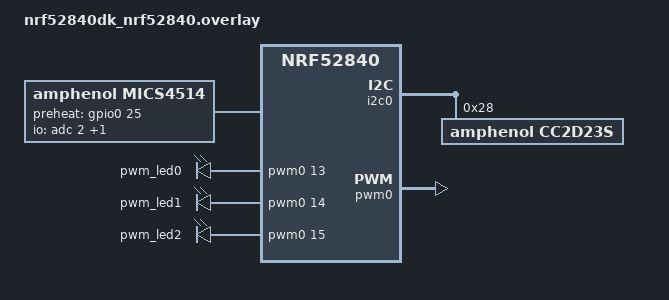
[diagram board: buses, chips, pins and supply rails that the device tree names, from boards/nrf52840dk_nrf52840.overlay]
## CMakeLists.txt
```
#-------------------------------------------------------------------------------
# Pyrrha application firmware
#
# Copyright (c) 2021 LION
# SPDX-License-Identifier: Apache-2.0

cmake_minimum_required(VERSION 3.20.0)
find_package(Zephyr REQUIRED HINTS $ENV{ZEPHYR_BASE})

project(app LANGUAGES C VERSION 0.2.1)

configure_file(app_version.h.in ${CMAKE_BINARY_DIR}/app/include/app_version.h)
target_include_directories(app PRIVATE ${CMAKE_BINARY_DIR}/app/include src)

set(PYRRHA_SOURCES
    src/main.c
    src/collector.c
    src/encoder.c
    src/gas.c
    src/rht.c
    src/messenger.c
    src/bluetooth.c
    src/storage.c
    src/timestamp.c
    src/alerts.c
)
target_include_directories(app PRIVATE include src)
target_sources(app PRIVATE ${PYRRHA_SOURCES})
```

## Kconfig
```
# Copyright (c) 2021 LION
# SPDX-License-Identifier: Apache-2.0
#
# This file is the application Kconfig entry point.

menu "Zephyr"
source "Kconfig.zephyr"
endmenu

module = PYRRHA
module-str = pyrrha_bluetooth
source "subsys/logging/Kconfig.template.log_config"

module = PYRRHA_BLUETOOTH
module-str = pyrrha_bluetooth
source "subsys/logging/Kconfig.template.log_config"

module = PYRRHA_MESSENGER
module-str = pyrrha_messenger
source "subsys/logging/Kconfig.template.log_config"

module = PYRRHA_COLLECTOR
module-str = pyrrha_collector
source "subsys/logging/Kconfig.template.log_config"

module = PYRRHA_STORAGE
module-str = pyrrha_storage
source "subsys/logging/Kconfig.template.log_config"

module = PYRRHA_ENCODER
module-str = pyrrha_encoder
source "subsys/logging/Kconfig.template.log_config"

menu "pyrrha threads"
menu "stacks"
config PYRRHA_COLLECTION_STACKSIZE
	int "Size of the stack allowed for the collection process"
	range 512 8192
	default 2048
	help
	  This value controls the size of the stack (in bytes)
	  allowed for the collection process
config PYRRHA_MESSAGING_STACKSIZE
	int "Size of the stack allowed for the messaging process"
	range 512 8192
	default 4096
	help
	  This value controls the size of the stack (in bytes)
	  allowed for the messaging process
endmenu

menu "priorities"
config PYRRHA_COLLECTION_PRIORITY
	int "Priority for the collection process"
	range 0 7
	default 7
config PYRRHA_MESSAGING_PRIORITY
	int "Priority for the messaging process"
	range 0 7
	default 7
endmenu
endmenu

menu "storage"
config PYRRHA_FCB_NUM_AREAS
	int "Number of flash areas used by the settings subsystem"
	default 16
	help
	  Number of areas to allocate in the FCB. A smaller number is
	  used if the flash hardware cannot support this value.

config PYRRHA_FCB_MAGIC
	hex "FCB magic for the settings subsystem"
	default 0xf14ef14e
	help
	  Magic 32-bit word for to identify valid settings area
endmenu

config PYRRHA_SAMPLE_PERIOD
    int "Period (in seconds) of sensor data collection"
    range 1 300
    default 10

config PYRRHA_COLLECTION_START_DELAY
    int "Delay (in milliseconds) before starting the collection process"
    range 0 100000
    default 0

config PYRRHA_MESSAGE_BUFF_SIZE
	int "Size of the buffer used to hold an encoded message (in bytes)"
	range 192 1024
	default 512

config PYRRHA_MESSAGE_QUEUE_SIZE
	int "Number of messages allowed in the message queue before it is full"
	range 2 64
	default 5

config PYRRHA_MESSAGE_QUEUE_ALIGNMENT
	int 
	range 2 32
	default 4
```

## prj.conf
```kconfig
# Copyright (c) 2021 LION
# SPDX-License-Identifier: Apache-2.0
#
# This file contains selected Kconfig options for the application.

CONFIG_GPIO=y
CONFIG_JSON_LIBRARY=y
CONFIG_FLASH=y
CONFIG_FLASH_MAP=y
CONFIG_FCB=y

# Bluetooth

CONFIG_BT=y
CONFIG_BT_DEVICE_NAME="Pyrrha"
CONFIG_BT_DEBUG_LOG=y
CONFIG_BT_SMP=y
CONFIG_BT_PERIPHERAL=y
CONFIG_BT_DEVICE_APPEARANCE=962
CONFIG_BT_SETTINGS=y
CONFIG_FLASH_MAP=y
CONFIG_NVS=y
CONFIG_SETTINGS=y
CONFIG_SYSTEM_WORKQUEUE_STACK_SIZE=4096
CONFIG_BT=y
CONFIG_BT_SMP_SC_PAIR_ONLY=y
CONFIG_BT_SMP_APP_PAIRING_ACCEPT=y
CONFIG_BT_GATT_CLIENT=y

# Increase BT MTU and RX buffers, and bluetooth rx stack size
# to support larger messages
CONFIG_BT_L2CAP_TX_MTU=498
CONFIG_BT_BUF_ACL_TX_SIZE=251
CONFIG_BT_BUF_ACL_RX_SIZE=502
CONFIG_BT_RX_STACK_SIZE=4096
```

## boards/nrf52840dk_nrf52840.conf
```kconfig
# Copyright (c) 2021 LION
# SPDX-License-Identifier: Apache-2.0

CONFIG_SENSOR=y
CONFIG_CC2D23S=y
CONFIG_I2C=y

CONFIG_ADC=y
CONFIG_MICS4514=y
CONFIG_NEWLIB_LIBC=y

CONFIG_NORDIC_QSPI_NOR=y
CONFIG_NORDIC_QSPI_NOR_FLASH_LAYOUT_PAGE_SIZE=4096
CONFIG_PYRRHA_FCB_NUM_AREAS=255
```

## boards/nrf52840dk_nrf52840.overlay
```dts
/*
 * Copyright 2021 LION
 *
 * SPDX-License-Identifier: Apache-2.0
 */

&mx25r64 {
	partitions {
		compatible = "fixed-partitions";
		#address-cells = <1>;
		#size-cells = <1>;

		record_partition: partition@0 {
			label = "records";
			reg = <0x0 0xff000>;
		};
	};
};

&i2c0 {
	rht_sensor: cc2d23s@28 {
		compatible = "amphenol,cc2d23s";
		reg = <0x28>;
		label = "CC2D23S";
	};
};

&pwm0 {
	status = "okay";
	ch0-pin = <13>;
	ch0-inverted;
	ch1-pin = <14>;
	ch1-inverted;
	ch2-pin = <15>;
	ch2-inverted;
};

/ {
	gas_sensor: mics4514 {
		label = "MICS4514";
		compatible = "amphenol,mics4514";
		io-channels = <&adc 2>, <&adc 1>;
		io-channel-names = "RED", "OX";
		preheat-gpios = <&gpio0 25 GPIO_ACTIVE_HIGH>;
		rload-red-ohms = <47000>;
		rload-ox-ohms = <22000>;
	};
	pwmleds {
		compatible = "pwm-leds";
		pwm_led0: pwm_led_0 {
			pwms = <&pwm0 13>;
		};
		pwm_led1: pwm_led_1 {
			pwms = <&pwm0 14>;
		};
		pwm_led2: pwm_led_2 {
			pwms = <&pwm0 15>;
		};
	};
	aliases {
		red-pwm-led = &pwm_led0;
		green-pwm-led = &pwm_led1;
		blue-pwm-led = &pwm_led2;
	};
};
```

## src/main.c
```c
/*
 * Copyright (c) 2021 LION
 * SPDX-License-Identifier: Apache-2.0
 */

#include <zephyr.h>
#include "app_version.h"

#include <logging/log.h>
#include <drivers/gpio.h>
#include <drivers/sensor.h>
#include <drivers/sensor/mics4514.h>

LOG_MODULE_REGISTER(main, CONFIG_PYRRHA_LOG_LEVEL);

void main(void)
{
	printk("Starting Pyrrha firmware version %s\n", APP_VERSION_STR);
}
```

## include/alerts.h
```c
/**
 * @file alerts.h
 * @author Brian Bradley (brian.bradley.p@gmail.com)
 * @date 2022-01-26
 * 
 * @copyright Copyright (C) 2022 LION
 * 
 * SPDX-License-Identifier: Apache-2.0
 * 
 */


#ifndef __PYRRHA_BLUETOOTH_H
#define __PYRRHA_BLUETOOTH_H

#include <collector.h>

/**
 * @brief Check for and generate any alerts necessary based on
 * sensor data
 * 
 * @param data : sensor data used to match alert conditions
 * @retval 0 on success
 * @retval -ENOLCK if alert mutex could not be locked within 250ms
 * @retval -errno otherwise
 */
int generate_alerts(struct pyrrha_data * data);

/**
 * @brief Override the current alert condition.
 * This will block local alert generation until a release is issued.
 * 
 * @param color : hex representation of led color used in alarm
 * @retval 0 on success
 * @retval -ENOLCK if alert mutex could not be locked within 250ms
 */
int override_alert(uint32_t color);

/**
 * @brief Release the current override for the LED. For instance, 
 * if the host device disconnects and can no longer control the alarm
 * 
 * @retval 0 on success
 * @retval -ENOLCK if alert mutex could not be locked within 250ms
 */
int release_alert_override();

#endif
```

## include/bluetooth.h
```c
/**
 * @file bluetooth.h
 * @author Brian Bradley (brian.bradley.p@gmail.com)
 * @date 2021-11-05
 * 
 * @copyright Copyright (C) 2021 LION
 * 
 * SPDX-License-Identifier: Apache-2.0
 * 
 */

#ifndef __PYRRHA_BLUETOOTH_H
#define __PYRRHA_BLUETOOTH_H

#include <zephyr.h>
/**
 * @brief Unimplemented
 * 
 * @param buffer : data to be sent to client
 * @param len : length of data sent to client
 * @retval -ENOTSUP 
 */
int notify_client(char * buffer, size_t len);

#endif
```

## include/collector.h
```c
/**
 * @file collector.h
 * @author Brian Bradley (brian.bradley.p@gmail.com)
 * @date 2021-11-03
 * 
 * @copyright Copyright (C) 2021 LION
 * 
 * SPDX-License-Identifier: Apache-2.0
 * 
 */

#ifndef __PYRRHA_COLLECTOR_H
#define __PYRRHA_COLLECTOR_H

#include <gas.h>
#include <rht.h>

#define ERR_GAS_SENSOR  BIT(0)
#define ERR_RHT_SENSOR  BIT(1)

struct pyrrha_data{
    uint32_t timestamp;
    struct gas_sensor_data gas;
    struct rht_data rht;
    uint8_t err;
};

/**
 * @brief This thread will aggregate all sensor data and prepare it
 * for encoding/saving/messaging
 * 
 */
void data_collection_process(void);

#endif
```

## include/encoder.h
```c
/**
 * @file encoder.h
 * @author Brian Bradley (brian.bradley.p@gmail.com)
 * @date 2021-11-03
 * 
 * @copyright Copyright (C) 2021 LION
 * 
 * SPDX-License-Identifier: Apache-2.0
 * 
 */

#ifndef __PYRRHA_ENCODER_H
#define __PYRRHA_ENCODER_H

#include <zephyr.h>
#include <collector.h>
/**
 * @brief encode sensor data into a serialized format for sending / recording
 * 
 * @param data : sensor data to encode
 * @param buffer : string buffer to hold the serialized data after encoding
 * @param buffer_len : maximum length of the encoded data (size of string buffer)
 * @retval 0 on success
 * @retval -ENOMEM on `buffer_len` less than space needed for encoding
 * @retval -errno otherwise
 */
int sensor_data_encode(struct pyrrha_data * data, char * buffer, size_t buffer_len);

#endif
```

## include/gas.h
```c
/**
 * @file gas.h
 * @author Brian Bradley (brian.bradley.p@gmail.com)
 * @brief Headers for gas sensor integration
 * @date 2021-11-03
 * 
 * @copyright Copyright (C) 2021 LION
 * 
 * SPDX-License-Identifier: Apache-2.0
 * 
 */

#ifndef __PYRRAH_GAS_SENSOR_H
#define __PYRRAH_GAS_SENSOR_H

#include <zephyr.h>
#include <drivers/sensor.h>

struct gas_sensor_data{
    struct sensor_value co;
    struct sensor_value no2;
};

/**
 * @brief Capture the latest gas sensor data is possible
 * 
 * @param data : Pointer to where gas sensor data should be stored on successful acquisition
 * @retval 0 on success
 * @retval -errno otherwise 
 */
int capture_gas_sensor_data(struct gas_sensor_data * data);

#endif
```

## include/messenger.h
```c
/**
 * @file messenger.h
 * @author Brian Bradley (brian.bradley.p@gmail.com)
 * @date 2021-11-05
 * 
 * @copyright Copyright (C) 2021 LION
 * 
 * SPDX-License-Identifier: Apache-2.0
 * 
 */
#ifndef __PYRRHA_MESSENGER_H
#define __PYRRHA_MESSENGER_H

#include <collector.h>
/**
 * @brief Add a new message to the queue
 * for sending / recording
 * 
 * @param data : sensor data to be sent
 * @retval 0 on success
 * @retval -errno otherwise
 */
int queue_sensor_data(struct pyrrha_data * data);

/**
 * @brief This thread will wait for new messages
 * and attempt to send them, or queue them to be sent
 * 
 */
void data_messaging_process(void);

#endif
```

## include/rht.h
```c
/**
 * @file gas.h
 * @author Brian Bradley (brian.bradley.p@gmail.com)
 * @brief Headers for rht sensor integration
 * @date 2021-11-03
 * 
 * @copyright Copyright (C) 2021 LION
 * 
 * SPDX-License-Identifier: Apache-2.0
 * 
 */

#ifndef __PYRRAH_RHT_SENSOR_H
#define __PYRRAH_RHT_SENSOR_H

#include <drivers/sensor.h>

struct rht_data{
    struct sensor_value temperature;
    struct sensor_value humidity;
};

/**
 * @brief Capture the latest rht sensor data is possible
 * 
 * @param data : Pointer to where rht data should be stored on successful acquisition
 * @retval 0 on success
 * @retval -errno otherwise 
 */
int capture_rht_data(struct rht_data * data);

#endif
```

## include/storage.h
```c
/**
 * @file storage.h
 * @author Brian Bradley (brian.bradley.p@gmail.com)
 * @date 2021-11-05
 * 
 * @copyright Copyright (C) 2021 LION
 * 
 * SPDX-License-Identifier: Apache-2.0
 * 
 */
#ifndef __PYRRHA_STORAGE_H
#define __PYRRHA_STORAGE_H
#include <zephyr.h>
#include <collector.h>

/**
 * Callback function for handling records found while 
 * walking through flash circular buffer
 *
 * Type of function which is expected to be called after
 * walking through each record
 *
 * If cb wants to stop the walk, it should return non-zero value.
 * 
 * @param record Pointer to record which must be handled
 * @return 0 continue walking, non-zero stop walking.
 */
typedef int (*record_handler_cb)(struct pyrrha_data *record);

/**
 * @brief Walk through all available stored records, and
 * handle them with a record handler `cb`
 * 
 * @param cb : Record handler, each stored record will have
 * this function applied to it
 * @retval positive number of records succesfully handled
 * @retval -errno on failure. This can come from the storage backend,
 * or from `cb`
 */
int record_walk(record_handler_cb cb);

/**
 * @brief Checks to see if there are any stored, unsent records
 * 
 * @retval true : records available
 * @retval false : no records available
 */
bool stored_record_is_available();

/**
 * @brief Get the next (oldest available) record, if there is one
 * 
 * @param record : structure to store record, if one is found
 * @retval 0 : successfully got a record
 * @retval -ENODATA : no records available
 * @retval -errno otherwise 
 * 
 * @note It is important to rotate the data with `rotate_record_buffer`
 * once the data is no longer needed (e.g. it was successfully sent)
 */
int get_next_record(struct pyrrha_data * record);

/**
 * @brief Store a new record for later retrieval
 * 
 * @param record : record to store
 * @retval 0 on success
 * @retval -errno otherwise
 */
int store_new_record(struct pyrrha_data * record);

/**
 * @brief Deletes the oldest record from the circular buffer
 * 
 * @retval 0 on success
 * @retval -errno otherwise
 */
int rotate_record_buffer();

#endif
```

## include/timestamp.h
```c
/**
 * @file timestamp.h
 * @author Brian Bradley (brian.bradley.p@gmail.com)
 * @date 2021-11-08
 * 
 * @copyright Copyright (C) 2021 LION
 * 
 * SPDX-License-Identifier: Apache-2.0
 * 
 */
#ifndef __PYRRHA_TIMESTAMP_H
#define __PYRRHA_TIMESTAMP_H

#include <zephyr.h>

/**
 * @brief Get current time
 * 
 * @retval : timestamp represented in seconds since epoch (unix time)
 * @retval -errno on error
 */

int get_timestamp(void);

/**
 * @brief Set the current time
 * 
 * @param time : timestamp represented in seconds since epoch (unix time)
 * @retval 0 on success
 * @retval -errno otherwise
 */
int set_timestamp(uint32_t time);

#endif
```

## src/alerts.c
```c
/**
 * @file alerts.c
 * @author Brian Bradley (brian.bradley.p@gmail.com)
 * @brief 
 * @date 2022-01-26
 * 
 * @copyright Copyright (C) 2022 LION
 * 
 * SPDX-License-Identifier: Apache-2.0
 * 
 */

#include <alerts.h>
#include <logging/log.h>
#include <zephyr.h>
#include <device.h>
#include <drivers/pwm.h>

LOG_MODULE_REGISTER(alerts, CONFIG_PYRRHA_LOG_LEVEL);

#define OVER_TEMPERATURE(temp) (temp > CONFIG_TEMPERATURE_ALERT_THRESHOLD_CELCIUS)
#define OVER_CO(co) (co > CONFIG_CO_ALERT_THRESHOLD_PPM)
#define OVER_NO2(no2) (no2 > CONFIG_NO2_ALERT_THRESHOLD_PPM)

/*
 * 50hz is flicker fusion threshold. Modulated light will be perceived
 * as steady by our eyes when blinking rate is at least 50.
 */
#define PERIOD_USEC	(USEC_PER_SEC / 50U)

#define RED_LED_NODE DT_ALIAS(red_pwm_led)
#define GREEN_LED_NODE DT_ALIAS(green_pwm_led)
#define BLUE_LED_NODE DT_ALIAS(blue_pwm_led)

#define COLOR_TO_PULSE(color, period)         (color == UINT8_MAX ? (period) : (color * (period) >> 8))

/**
 * @brief union which allows easy set/conversion to hex or rgb directly
 * 
 */
typedef union Color{
    uint32_t hex;
    struct{
        uint8_t red;
        uint8_t green;
        uint8_t blue;
    };
}color_t;

/**
 * @brief Configuration table for pwm led
 * 
 */
struct pwm_cfg{
    const struct device * pwm;
    const uint8_t pin;
    const uint8_t flags;
    const uint32_t period;
};

/**
 * @brief Container for all pwm leds associated with the rgb led
 * 
 */
struct rgb_led_device{
    const struct pwm_cfg red;
    const struct pwm_cfg green;
    const struct pwm_cfg blue;
};

K_MUTEX_DEFINE(mtx_alert);
static color_t g_alert_override = {0};

const struct rgb_led_device g_led = {
    .red = {
        .pwm = DEVICE_DT_GET(DT_PWMS_CTLR(RED_LED_NODE)),
        .pin = DT_PWMS_CHANNEL(RED_LED_NODE),
        .flags = DT_PWMS_FLAGS(RED_LED_NODE), 
        .period = PERIOD_USEC
    },
    .green = {
        .pwm = DEVICE_DT_GET(DT_PWMS_CTLR(GREEN_LED_NODE)),
        .pin = DT_PWMS_CHANNEL(GREEN_LED_NODE),
        .flags = DT_PWMS_FLAGS(GREEN_LED_NODE), 
        .period = PERIOD_USEC
    },
    .blue = {
        .pwm = DEVICE_DT_GET(DT_PWMS_CTLR(BLUE_LED_NODE)),
        .pin = DT_PWMS_CHANNEL(BLUE_LED_NODE),
        .flags = DT_PWMS_FLAGS(BLUE_LED_NODE), 
        .period = PERIOD_USEC
    },
};

/**
 * @brief Set pwm output directly to the coresponding 8-bit color value
 * 
 * @param cfg : configuration table for pwm device
 * @param color : 8-bit color value for the specified pwm
 * @retval 0 on success
 * @retval -ENODEV if no configuration table
 * @retval -EFAULT if pwm set error
 */
static int set_pwm(const struct pwm_cfg * cfg, uint8_t color)
{
    if (cfg == NULL){
        return -ENODEV;
    }
	const struct device *dev = cfg->pwm;
    uint32_t pulse = COLOR_TO_PULSE(color, cfg->period);
	/* Verify pwm_pin_set_usec() */
	if (pwm_pin_set_usec(dev, cfg->pin, cfg->period, pulse, cfg->flags)) {
		LOG_ERR("Fail to set the period and pulse width");
		return -EFAULT;
	}
	return 0;
}

/**
 * @brief Set the alert led to a specific color
 * 
 * @param color : rgb representation of desired color 
 * @retval 0 on success
 * @retval -errno otherwise
 */
static int set_alert_led(color_t color){
    set_pwm(&g_led.red, color.red);
    set_pwm(&g_led.green, color.green);
    set_pwm(&g_led.blue, color.blue);
    return 0;
}

/**
 * @brief generate an alert from sensor data exceeding set thresholds
 */
static void threshold_alert(void){
    const color_t alert_color = {
        .red = 0xff
    };
    set_alert_led(alert_color);
}

int override_alert(uint32_t color){
    if (k_mutex_lock(&mtx_alert, K_MSEC(250)) != 0){
        return -ENOLCK;
    }
    g_alert_override.hex = color;
    set_alert_led(g_alert_override);
    k_mutex_unlock(&mtx_alert);
    return 0;
}

int release_alert_override(){
    return override_alert(0);
}

int generate_alerts(struct pyrrha_data * data){
    if (k_mutex_lock(&mtx_alert, K_MSEC(250)) != 0){
        return -ENOLCK;
    }
    /* Only generate an alert when there is no override condition */
    if (g_alert_override.hex == 0){
        if (OVER_TEMPERATURE(data->rht.temperature.val1) ||
            OVER_CO(data->gas.co.val1) ||
            OVER_NO2(data->gas.no2.val1))
        {
            threshold_alert();
        }
    }
    k_mutex_unlock(&mtx_alert);
    return 0;
}
```

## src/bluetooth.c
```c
/**
 * @file bluetooth.c
 * @author Brian Bradley (brian.bradley.p@gmail.com)
 * @date 2021-11-05
 * 
 * @copyright Copyright (C) 2021 LION
 * 
 * SPDX-License-Identifier: Apache-2.0
 * 
 */

#include <zephyr.h>
#include <init.h>
#include <zephyr/types.h>
#include <stddef.h>
#include <string.h>
#include <errno.h>
#include <sys/printk.h>
#include <sys/byteorder.h>
#include <bluetooth.h>
#include <settings/settings.h>
#include <bluetooth/bluetooth.h>
#include <bluetooth/hci.h>
#include <bluetooth/conn.h>
#include <bluetooth/uuid.h>
#include <bluetooth/gatt.h>
#include <logging/log.h>

LOG_MODULE_REGISTER(pyrrha_bluetooth, CONFIG_PYRRHA_BLUETOOTH_LOG_LEVEL);

/* Custom Service Variables */
#define BT_UUID_CUSTOM_SERVICE_VAL \
	BT_UUID_128_ENCODE(0x2c32fd5f, 0x5082, 0x437e, 0x8501, 0x959d23d3d2fb)

static struct bt_uuid_128 pyrrha_svc_uuid = BT_UUID_INIT_128(
	BT_UUID_CUSTOM_SERVICE_VAL);

static struct bt_uuid_128 sensors_chrc_uuid = BT_UUID_INIT_128(
	BT_UUID_128_ENCODE(0xdcaaccb4, 0xc1d1, 0x4bc4, 0xb406, 0x8f6f45df0208));


static bool host_connected = false;

static void pyrrha_conn_ready(void){
	host_connected = true;
}

static void pyrrha_ccc_cfg_changed(const struct bt_gatt_attr *attr, uint16_t val)
{
	host_connected = (val == BT_GATT_CCC_NOTIFY);

	if (host_connected) {
		pyrrha_conn_ready();
	}
	LOG_DBG("val %u %d", val, host_connected);
}

BT_GATT_SERVICE_DEFINE(pyrrha_svc,
	/* Vendor Primary Service Declaration */
	BT_GATT_PRIMARY_SERVICE(&pyrrha_svc_uuid.uuid),
	BT_GATT_CHARACTERISTIC(&sensors_chrc_uuid.uuid, BT_GATT_CHRC_NOTIFY,
			       BT_GATT_PERM_NONE, NULL, NULL, NULL),
	BT_GATT_CCC(pyrrha_ccc_cfg_changed,
		    BT_GATT_PERM_READ | BT_GATT_PERM_WRITE),
);

static const struct bt_data ad[] = {
	BT_DATA_BYTES(BT_DATA_FLAGS, (BT_LE_AD_GENERAL | BT_LE_AD_NO_BREDR)),
	BT_DATA_BYTES(BT_DATA_UUID128_ALL, BT_UUID_CUSTOM_SERVICE_VAL),
};

static void exchange_func(struct bt_conn *conn, uint8_t err, struct bt_gatt_exchange_params *params)
{
	if (!err) {
		LOG_DBG("MTU exchange done");
	} else {
		LOG_ERR("MTU exchange failed (err %" PRIu8 ")", err);
	}
}

int notify_client(char * buffer, size_t len){
	
	if (host_connected){
		LOG_HEXDUMP_DBG(buffer, len, "notification data");
    	return bt_gatt_notify(NULL, &pyrrha_svc.attrs[1], buffer, len);
	}
	return -ENODEV;
}

static void connected(struct bt_conn *conn, uint8_t err)
{
	char addr[BT_ADDR_LE_STR_LEN];

	bt_addr_le_to_str(bt_conn_get_dst(conn), addr, sizeof(addr));

	if (err) {
		LOG_ERR("Failed to connect to %s (%u)", log_strdup(addr), err);
		return;
	}

	LOG_DBG("Connected %s", log_strdup(addr));

	static struct bt_gatt_exchange_params exchange_params;

	exchange_params.func = exchange_func;
	bt_gatt_exchange_mtu(conn, &exchange_params);

	if (bt_conn_set_security(conn, BT_SECURITY_L2)) {
		LOG_ERR("Failed to set security");
	}
}

static void disconnected(struct bt_conn *conn, uint8_t reason)
{
	char addr[BT_ADDR_LE_STR_LEN];
	host_connected = false;
	bt_addr_le_to_str(bt_conn_get_dst(conn), addr, sizeof(addr));

	LOG_DBG("Disconnected from %s (reason 0x%02x)", log_strdup(addr), reason);
}

static void security_changed(struct bt_conn *conn, bt_security_t level,
			     enum bt_security_err err)
{
	char addr[BT_ADDR_LE_STR_LEN];

	bt_addr_le_to_str(bt_conn_get_dst(conn), addr, sizeof(addr));

	if (!err) {
		LOG_DBG("Security changed: %s level %u", log_strdup(addr), level);
	} else {
		LOG_WRN("Security failed: %s level %u err %d", log_strdup(addr), level,
		       err);
	}
}

BT_CONN_CB_DEFINE(conn_callbacks) = {
	.connected = connected,
	.disconnected = disconnected,
	.security_changed = security_changed,
};

static void bt_ready(int err)
{
	if (err) {
		LOG_ERR("Bluetooth init failed (err %d)", err);
		return;
	}
	LOG_INF("Bluetooth initialized");
	if (IS_ENABLED(CONFIG_SETTINGS)) {
		settings_load();
	}
	err = bt_le_adv_start(BT_LE_ADV_CONN_NAME, ad, ARRAY_SIZE(ad), NULL, 0);
	if (err) {
		LOG_ERR("Advertising failed to start (err %d)", err);
		return;
	}
	LOG_DBG("Advertising successfully started");
}

static int bluetooth_init(){
    int ret;
	ret = bt_enable(bt_ready);
	if (ret) {
		LOG_ERR("Bluetooth init failed (err %d)", ret);
	}
    return ret;
}

SYS_INIT(bluetooth_init, APPLICATION, CONFIG_APPLICATION_INIT_PRIORITY);
```

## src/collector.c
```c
/**
 * @file collector.c
 * @author Brian Bradley (brian.bradley.p@gmail.com)
 * @brief Aggregate sensor data and send it to the encoder
 * @date 2021-11-03
 * 
 * @copyright Copyright (C) 2021 LION
 * 
 * SPDX-License-Identifier: Apache-2.0
 * 
 */
#include <zephyr.h>
#include <logging/log.h>
#include <collector.h>
#include <messenger.h>
#include <timestamp.h>
LOG_MODULE_REGISTER(collector, CONFIG_PYRRHA_COLLECTOR_LOG_LEVEL);

void data_collection_process(void){
    struct pyrrha_data data = {0};
    while(1){
        data.err = 0;
        /* Capture data and record any errors for the host to filter */
        data.err |= (capture_gas_sensor_data(&data.gas) != 0 ? ERR_GAS_SENSOR : 0);
        data.err |= (capture_rht_data(&data.rht) != 0 ? ERR_RHT_SENSOR : 0);
        data.timestamp = get_timestamp();
        capture_rht_data(&data.rht);
        queue_sensor_data(&data);
        k_sleep(K_SECONDS(CONFIG_PYRRHA_SAMPLE_PERIOD));
    }
}

K_THREAD_DEFINE(data_collection_thread, CONFIG_PYRRHA_COLLECTION_STACKSIZE, data_collection_process, 
	NULL, NULL, NULL, CONFIG_PYRRHA_COLLECTION_PRIORITY, 0, CONFIG_PYRRHA_COLLECTION_START_DELAY);
```
